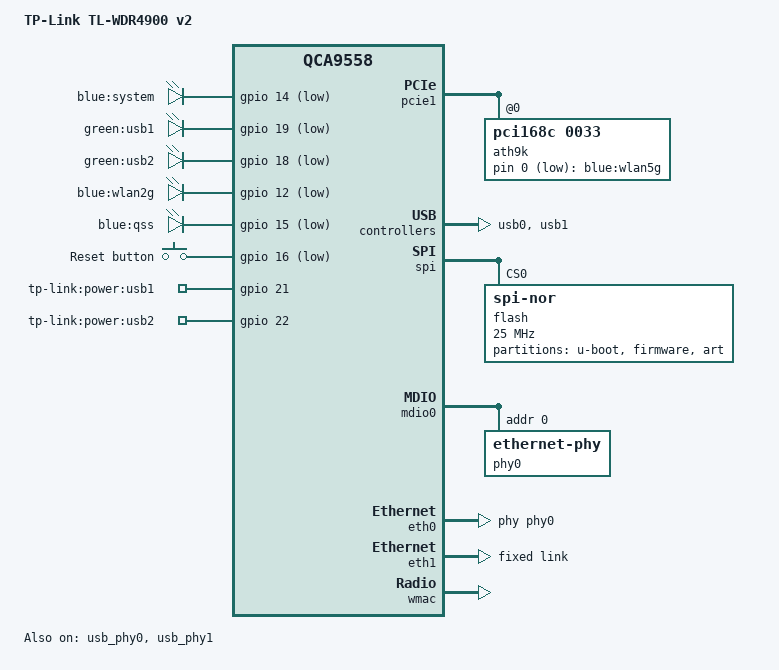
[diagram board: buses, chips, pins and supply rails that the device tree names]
// SPDX-License-Identifier: GPL-2.0-or-later OR MIT

#include "qca955x.dtsi"

#include <dt-bindings/gpio/gpio.h>
#include <dt-bindings/input/input.h>

/ {
	compatible = "tplink,tl-wdr4900-v2", "qca,qca9558";
	model = "TP-Link TL-WDR4900 v2";

	aliases {
		led-boot = &led_system;
		led-failsafe = &led_system;
		led-running = &led_system;
		led-upgrade = &led_system;
		label-mac-device = &eth1;
	};

	leds {
		compatible = "gpio-leds";

		led_system: system {
			label = "blue:system";
			gpios = <&gpio 14 GPIO_ACTIVE_LOW>;
			default-state = "on";
		};

		usb1 {
			label = "green:usb1";
			gpios = <&gpio 19 GPIO_ACTIVE_LOW>;
			trigger-sources = <&hub_port1>;
			linux,default-trigger = "usbport";
		};

		usb2 {
			label = "green:usb2";
			gpios = <&gpio 18 GPIO_ACTIVE_LOW>;
			trigger-sources = <&hub_port0>;
			linux,default-trigger = "usbport";
		};

		wlan2g {
			label = "blue:wlan2g";
			gpios = <&gpio 12 GPIO_ACTIVE_LOW>;
			linux,default-trigger = "phy0tpt";
		};

		qss {
			label = "blue:qss";
			gpios = <&gpio 15 GPIO_ACTIVE_LOW>;
		};
	};

	ath9k-leds {
		compatible = "gpio-leds";

		wlan5g {
			label = "blue:wlan5g";
			gpios = <&ath9k 0 GPIO_ACTIVE_LOW>;
			linux,default-trigger = "phy1tpt";
		};
	};

	keys {
		compatible = "gpio-keys";

		reset {
			label = "Reset button";
			linux,code = <KEY_RESTART>;
			gpios = <&gpio 16 GPIO_ACTIVE_LOW>;
			debounce-interval = <60>;
		};
	};

	gpio-export {
		compatible = "gpio-export";

		gpio_usb1_power {
			gpio-export,name = "tp-link:power:usb1";
			gpio-export,output = <1>;
			gpios = <&gpio 21 GPIO_ACTIVE_HIGH>;
		};

		gpio_usb2_power {
			gpio-export,name = "tp-link:power:usb2";
			gpio-export,output = <1>;
			gpios = <&gpio 22 GPIO_ACTIVE_HIGH>;
		};
	};
};

&pcie1 {
	status = "okay";

	ath9k: wifi@0,0 {
		compatible = "pci168c,0033";
		reg = <0x0000 0 0 0 0>;
		nvmem-cells = <&macaddr_uboot_1fc00>;
		nvmem-cell-names = "mac-address";
		mac-address-increment = <(-2)>;
		qca,no-eeprom;
		#gpio-cells = <2>;
		gpio-controller;
	};
};

&usb_phy0 {
	status = "okay";
};

&usb0 {
	#address-cells = <1>;
	#size-cells = <0>;
	status = "okay";

	hub_port0: port@1 {
		reg = <1>;
		#trigger-source-cells = <0>;
	};
};

&usb_phy1 {
	status = "okay";
};

&usb1 {
	#address-cells = <1>;
	#size-cells = <0>;
	status = "okay";

	hub_port1: port@1 {
		reg = <1>;
		#trigger-source-cells = <0>;
	};
};

&spi {
	status = "okay";

	flash@0 {
		compatible = "jedec,spi-nor";
		reg = <0>;
		spi-max-frequency = <25000000>;

		partitions {
			compatible = "fixed-partitions";
			#address-cells = <1>;
			#size-cells = <1>;

			uboot: partition@0 {
				label = "u-boot";
				reg = <0x000000 0x020000>;
				read-only;
			};

			partition@20000 {
				compatible = "tplink,firmware";
				label = "firmware";
				reg = <0x020000 0x7d0000>;
			};

			art: partition@7f0000 {
				label = "art";
				reg = <0x7f0000 0x010000>;
				read-only;
			};
		};
	};
};

&mdio0 {
	status = "okay";

	phy0: ethernet-phy@0 {
		reg = <0>;

		qca,ar8327-initvals = <
			0x04 0x00080080 /* PORT0 PAD MODE CTRL */
			0x0c 0x07600000 /* PORT6 PAD MODE CTRL */
			0x50 0xc737c737 /* LED_CTRL0 */
			0x54 0x00000000 /* LED_CTRL1 */
			0x58 0x00000000 /* LED_CTRL2 */
			0x5c 0x0030c300 /* LED_CTRL3 */
			0x7c 0x0000007e /* PORT0_STATUS */
			0x94 0x0000007e /* PORT6 STATUS */
		>;
	};
};

&eth0 {
	status = "okay";

	nvmem-cells = <&macaddr_uboot_1fc00>;
	nvmem-cell-names = "mac-address";
	mac-address-increment = <1>;
	phy-handle = <&phy0>;
	pll-data = <0x56000000 0x00000101 0x00001616>;

	gmac-config {
		device = <&gmac>;
		rgmii-enabled = <1>;
	};
};

&eth1 {
	status = "okay";

	nvmem-cells = <&macaddr_uboot_1fc00>;
	nvmem-cell-names = "mac-address";
	pll-data = <0x03000101 0x00000101 0x00001616>;

	fixed-link {
		speed = <1000>;
		full-duplex;
	};
};

&wmac {
	status = "okay";

	mtd-cal-data = <&art 0x1000>;
	nvmem-cells = <&macaddr_uboot_1fc00>;
	nvmem-cell-names = "mac-address";
	mac-address-increment = <(-1)>;
};

&uboot {
	compatible = "nvmem-cells";
	#address-cells = <1>;
	#size-cells = <1>;

	macaddr_uboot_1fc00: macaddr@1fc00 {
		reg = <0x1fc00 0x6>;
	};
};
